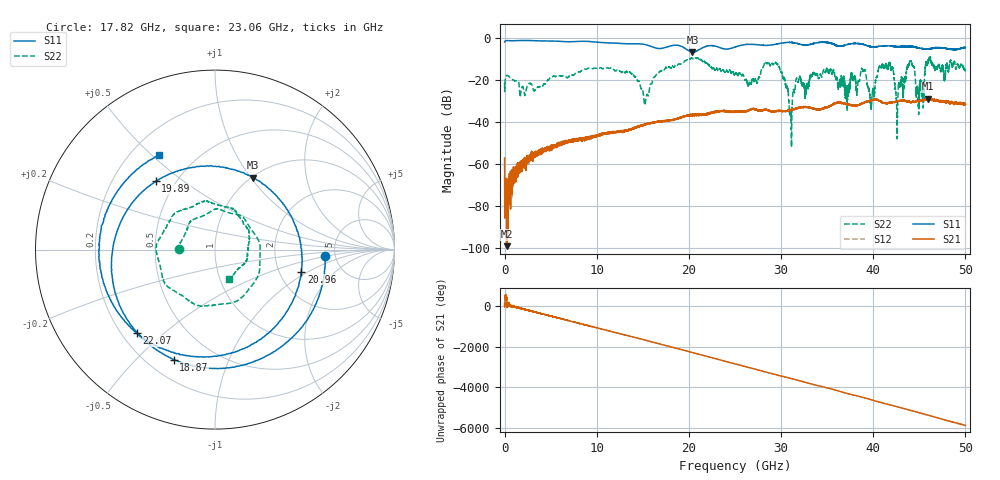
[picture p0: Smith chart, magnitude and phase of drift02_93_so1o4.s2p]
!Created with skrf (http://scikit-rf.org).
# Hz S RI R 50.0
!freq ReS11 ImS11 ReS21 ImS21 ReS12 ImS12 ReS22 ImS22
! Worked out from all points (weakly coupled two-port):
!   10001 points, 300 kHz to 50 GHz, reference 50 ohm
!   highest |S21| = -29.03 dB at 45.98 GHz (marker M1); lowest = -99.3 dB at 275.3 MHz (marker M2)
!   lowest |S11| = -6.9 dB at 20.38 GHz (marker M3), VSWR 2.65, Z = 50.8 + j51 ohm
!   |S11| at or under -10 dB: nowhere
!   |S22| runs from -52.2 to -9.0 dB; largest |S21 - S12| = 0.0029
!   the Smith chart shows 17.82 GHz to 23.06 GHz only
!   S11 on the Smith chart (normalised r, x): 17.82 GHz: 4.15, -0.48; 18.87 GHz: 0.30, -0.65; 19.89 GHz: 0.39, +0.40; 20.96 GHz: 2.65, -0.87; 22.07 GHz: 0.26, -0.41; 23.06 GHz: 0.31, +0.53
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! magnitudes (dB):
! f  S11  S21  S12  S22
! 300 kHz  -2.1  -57.3  -65.8  -21.5
! 275.3 MHz  -1.4  -99.3  -71.2  -18.0
! 8.335 GHz  -1.7  -48.2  -47.7  -15.7
! 15.33 GHz  -3.4  -41.3  -41.1  -29.2
! 16.67 GHz  -5.2  -40.2  -40.1  -17.0
! 17.82 GHz  -4.2  -39.5  -39.3  -13.9
! 18.87 GHz  -3.7  -38.4  -38.4  -12.5
! 19.89 GHz  -6.0  -36.8  -37.1  -10.2
! 20.38 GHz  -6.9  -36.8  -36.7  -10.0
! 20.96 GHz  -6.1  -36.8  -36.6  -9.7
! 22.07 GHz  -3.9  -36.7  -36.2  -12.7
! 23.06 GHz  -4.3  -35.3  -35.1  -14.8
! 25 GHz  -4.5  -35.3  -35.3  -17.4
! 29.52 GHz  -3.1  -34.8  -35.2  -12.5
! 31.04 GHz  -2.3  -34.4  -34.8  -35.5
! 33.34 GHz  -3.0  -33.5  -33.5  -18.4
! 38.92 GHz  -3.2  -31.0  -31.0  -16.3
! 39.88 GHz  -4.4  -29.8  -29.9  -27.9
! 41.67 GHz  -3.9  -31.0  -31.0  -13.1
! 42.62 GHz  -4.3  -30.5  -30.3  -39.8
! 45.98 GHz  -5.5  -29.0  -29.3  -10.8
! 50 GHz  -4.7  -31.7  -31.9  -15.9
